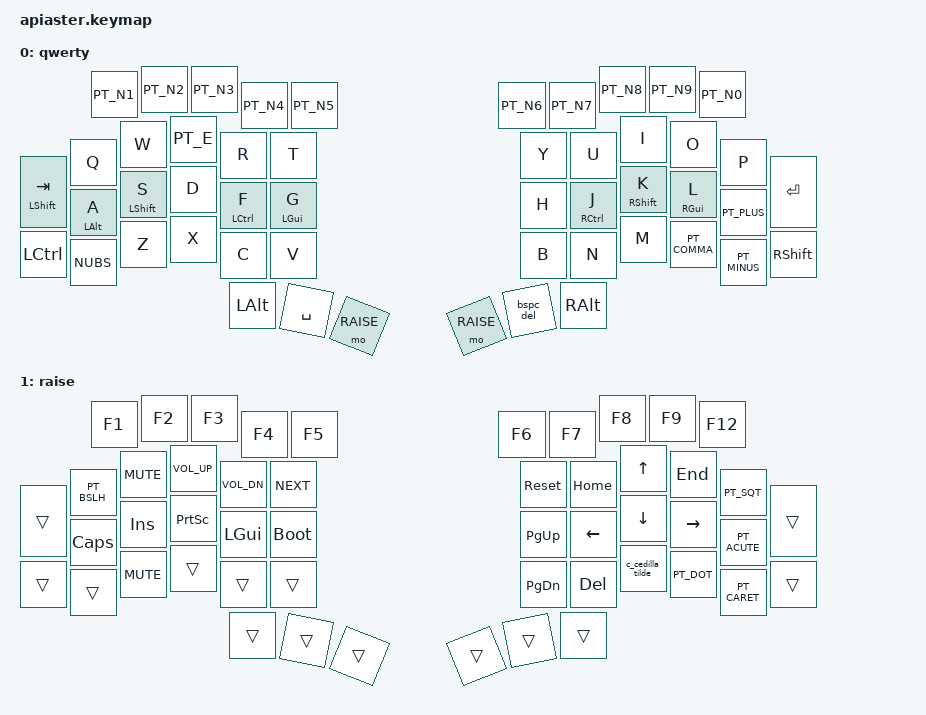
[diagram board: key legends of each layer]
#include <behaviors.dtsi>
#include <dt-bindings/zmk/keys.h>
#include "keys_pt.h"
#include <dt-bindings/zmk/bt.h>

#define QWERTY 0
#define RAISE 1

#define KEYS_L 0 1 2 3 4 10 11 12 13 14 20 21 22 23 24 25 32 33 34 35 36 37
#define KEYS_R 5 6 7 8 9 15 16 17 18 19 26 27 28 29 30 31 38 39 40 41 42 43
#define THUMBS_L 44 45 46
#define THUMBS_R 47 48 49

/ {    
    behaviors {
        hl: home_row_hold_tap_left {
            compatible = "zmk,behavior-hold-tap";
            #binding-cells = <2>;
            flavor = "balanced";
            tapping-term-ms = <280>;
            quick-tap-ms = <175>;                // repeat on tap-into-hold
            require-prior-idle-ms = <150>;
            bindings = <&kp>, <&kp>;
            hold-trigger-key-positions = <KEYS_R THUMBS_R>;
            hold-trigger-on-release;             // delay positional check until key-release
        };

        hr: home_row_hold_tap_right {
            compatible = "zmk,behavior-hold-tap";
            #binding-cells = <2>;
            flavor = "balanced";
            tapping-term-ms = <280>;
            quick-tap-ms = <175>;                // repeat on tap-into-hold
            require-prior-idle-ms = <150>;
            bindings = <&kp>, <&kp>;
            hold-trigger-key-positions = <KEYS_L THUMBS_L>;
            hold-trigger-on-release;             // delay positional check until key-release
        };
        
        bspc_del: backspace_delete {
            compatible = "zmk,behavior-mod-morph";
            #binding-cells = <0>;
            bindings = <&kp BACKSPACE>, <&kp DELETE>;
            mods = <(MOD_LALT|MOD_RALT)>;
        };

        c_cedilla_tilde: cedilla_tilde {
            compatible = "zmk,behavior-mod-morph";
            #binding-cells = <0>;
            bindings = <&kp PT_C_CEDILLA>, <&kp PT_TILDE>;
            mods = <(MOD_LSFT|MOD_RSFT)>;
        };
    };

    combos {
        compatible = "zmk,combos";
        combo_esc {
            timeout-ms = <50>;
            key-positions = <10 11>;
            bindings = <&kp ESC>;
        };  
    };

    keymap {
        compatible = "zmk,keymap";

        qwerty_layer {
            display-name = "qwerty";
// ------------------------------------------------------------------------------------------------------------
//              |   1/!   |   2/" |    3/#  |   4/$  |   5/% |                |  6/&  |   7//  |   8/(   |   9/) |   0/= |       
//              |   Q     |   W   |    E    |   R    |   T   |                |  Y    |     U  |    I    |   O   |   P   |        
// |  LSHIFT/TAB| ALT/A   |   S   | SHIFT/D | CTRL/F |LGUI/G |                |  H    | CTRL/J | SHIFT/K | GUI/L |  +/*  | ENTER |
// |  CTRL      |  LT     |   Z   |    X    |   C    |   V   |                |  B    |   N    |    M    |   ,/; | -/_   | SHIFT |
//                                          |  LALT  | SPACE | RAISE |  |RAISE| BACK/DELETE  | RALT  |
            bindings = <
               &kp PT_N1        &kp PT_N2   &kp PT_N3   &kp PT_N4   &kp PT_N5                      &kp PT_N6    &kp PT_N7   &kp PT_N8  &kp PT_N9  &kp PT_N0
               &kp Q            &kp W       &kp PT_E    &kp R       &kp T                             &kp Y        &kp U       &kp I       &kp O          &kp P
&mt LSHIFT TAB &hl LALT A       &hl LSHFT S &kp D       &hl LCTRL F &hl LGUI G                        &kp H        &hr RCTRL J &hr RSHFT K &hr RGUI L     &kp PT_PLUS  &kp ENTER
&kp LCTRL      &kp NUBS         &kp Z       &kp X       &kp C       &kp V                             &kp B        &kp N       &kp M       &kp PT_COMMA   &kp PT_MINUS &kp RSHFT
                                                        &kp LALT    &kp SPACE   &mo RAISE  &mo RAISE  &bspc_del    &kp RALT
            >;
        };

        raise_layer {
            display-name = "raise";
// ------------------------------------------------------------------------------------------------------------
//         |  F1     |  F3    |  F4     |  F4     |  F5    |                |  F6    |  F7  |  F8   |  F9   |  F12  |       
//         | PT_BSLH |  MUTE  |  VOL+   | VOL-    |  NEXT  |                | reset  | HOME |   ^   | END   | '/?   |       
// |       | CAPS    |  INS   | PRNTSCR | SUPER   |  boot  |                | PGUP   |  <-  |   v   |  ->   | ./:   |       |
// |       |         |        |         |         |        |                | PGDN   |  DEL |       | ACUTE |  Ç/~  |       |
//                                      |         |        |      |  |      |        |      | 
            bindings = <
          &kp F1       &kp F2       &kp F3       &kp F4        &kp F5                   &kp F6       &kp F7      &kp F8           &kp F9     &kp F12
          &kp PT_BSLH  &kp C_MUTE   &kp C_VOL_UP &kp C_VOL_DN  &kp C_NEXT               &sys_reset   &kp HOME    &kp UP           &kp END    &kp PT_SQT
&trans    &kp CLCK     &kp INS      &kp PSCRN    &kp LGUI      &bootloader              &kp PG_UP    &kp LEFT    &kp DOWN         &kp RIGHT  &kp PT_ACUTE &trans
&trans    &trans       &kp C_MUTE   &trans       &trans        &trans                   &kp PG_DN    &kp DEL     &c_cedilla_tilde &kp PT_DOT &kp PT_CARET &trans
                                                 &trans        &trans    &trans &trans  &trans       &trans 
            >;
        };

        extra1 {
            status = "reserved";
        };

        extra2 {
            status = "reserved";
        };

        extra3 {
            status = "reserved";
        };

        extra4 {
            status = "reserved";
        };

        extra5 {
            status = "reserved";
        };
    };
};
